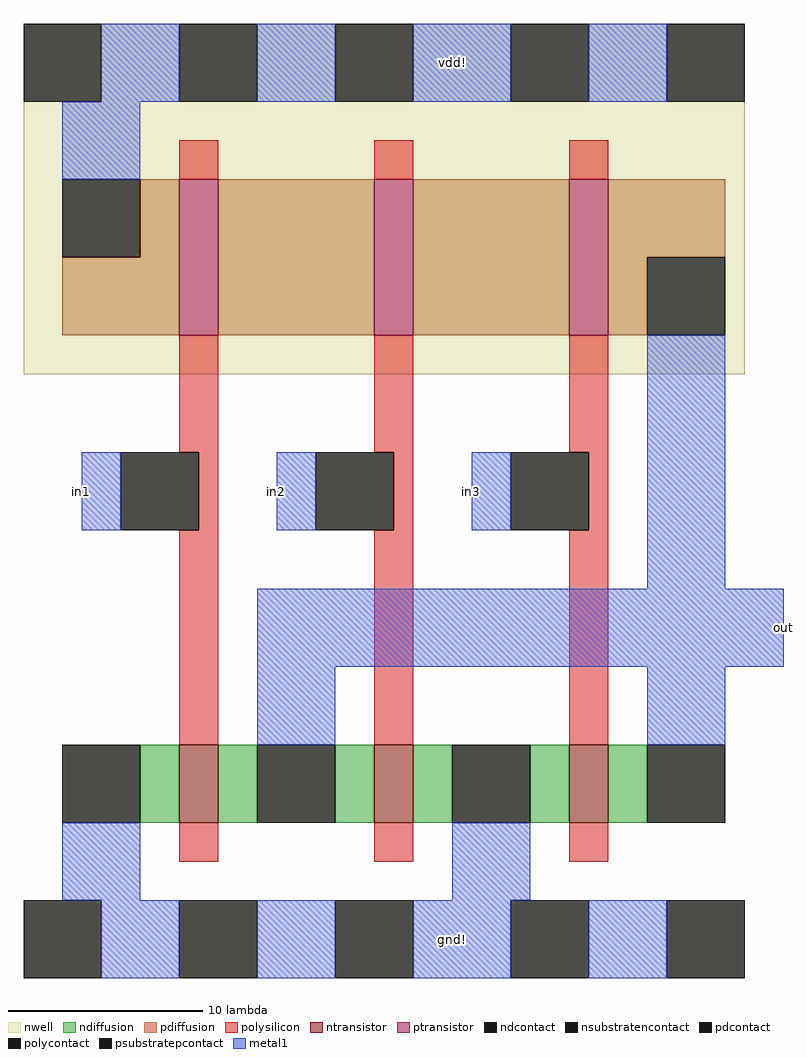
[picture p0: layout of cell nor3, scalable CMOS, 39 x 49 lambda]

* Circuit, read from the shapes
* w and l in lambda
.subckt nor3 gnd! in1 in2 in3 out vdd!
M1 out in1 gnd! gnd! nfet w=4 l=2
M2 gnd! in2 out gnd! nfet w=4 l=2
M3 out in3 gnd! gnd! nfet w=4 l=2
M4 n1 in1 vdd! vdd! pfet w=8 l=2
M5 n2 in2 n1 vdd! pfet w=8 l=2
M6 out in3 n2 vdd! pfet w=8 l=2
.ends

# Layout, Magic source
magic
tech scmos
<< nwell >>
rect 0 3 37 21
<< polysilicon >>
rect 8 13 10 15
rect 18 13 20 15
rect 28 13 30 15
rect 8 -1 10 5
rect 18 -1 20 5
rect 28 -1 30 5
rect 9 -5 10 -1
rect 19 -5 20 -1
rect 29 -5 30 -1
rect 8 -16 10 -5
rect 18 -16 20 -5
rect 28 -16 30 -5
rect 8 -22 10 -20
rect 18 -22 20 -20
rect 28 -22 30 -20
<< ndiffusion >>
rect 6 -20 8 -16
rect 10 -20 12 -16
rect 16 -20 18 -16
rect 20 -20 22 -16
rect 26 -20 28 -16
rect 30 -20 32 -16
<< pdiffusion >>
rect 6 9 8 13
rect 2 5 8 9
rect 10 5 18 13
rect 20 5 28 13
rect 30 9 36 13
rect 30 5 32 9
<< metal1 >>
rect 4 17 8 21
rect 12 17 16 21
rect 20 17 25 21
rect 29 17 33 21
rect 2 13 6 17
rect 3 -5 5 -1
rect 13 -5 15 -1
rect 23 -5 25 -1
rect 32 -8 36 5
rect 12 -12 39 -8
rect 12 -16 16 -12
rect 32 -16 36 -12
rect 2 -24 6 -20
rect 22 -24 26 -20
rect 4 -28 8 -24
rect 12 -28 16 -24
rect 20 -28 25 -24
rect 29 -28 33 -24
<< ntransistor >>
rect 8 -20 10 -16
rect 18 -20 20 -16
rect 28 -20 30 -16
<< ptransistor >>
rect 8 5 10 13
rect 18 5 20 13
rect 28 5 30 13
<< polycontact >>
rect 5 -5 9 -1
rect 15 -5 19 -1
rect 25 -5 29 -1
<< ndcontact >>
rect 2 -20 6 -16
rect 12 -20 16 -16
rect 22 -20 26 -16
rect 32 -20 36 -16
<< pdcontact >>
rect 2 9 6 13
rect 32 5 36 9
<< psubstratepcontact >>
rect 0 -28 4 -24
rect 8 -28 12 -24
rect 16 -28 20 -24
rect 25 -28 29 -24
rect 33 -28 37 -24
<< nsubstratencontact >>
rect 0 17 4 21
rect 8 17 12 21
rect 16 17 20 21
rect 25 17 29 21
rect 33 17 37 21
<< labels >>
rlabel metal1 22 19 22 19 5 vdd!
rlabel metal1 22 -26 22 -26 1 gnd!
rlabel metal1 3 -5 3 -1 3 in1
rlabel metal1 13 -5 13 -1 1 in2
rlabel metal1 23 -5 23 -1 1 in3
rlabel metal1 39 -12 39 -8 7 out
<< end >>
